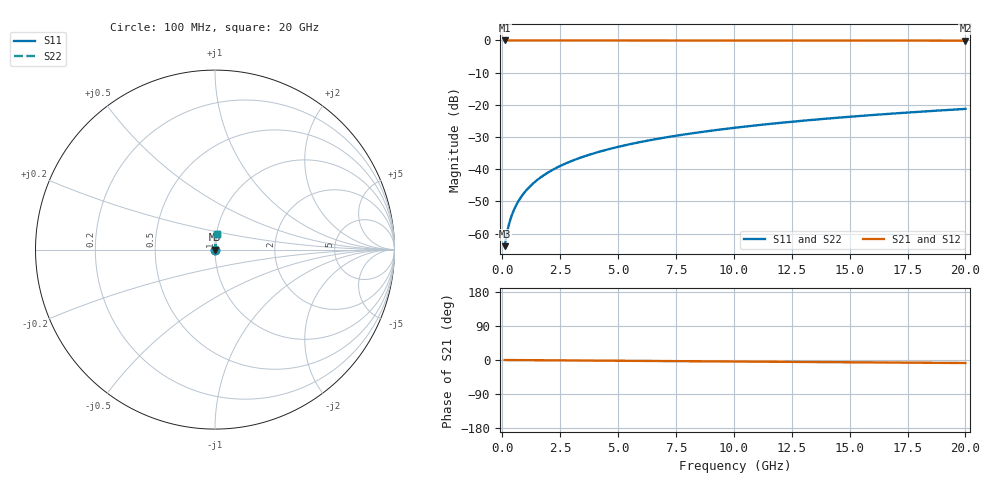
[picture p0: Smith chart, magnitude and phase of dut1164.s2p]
! Touchstone file exported from HFSS 2026.1.0
!  File:  C:/ffzhzh/LocalFiles/Ansys_Project_Files/temp_train_TSV_1164_1783191844_55132.aedt
!  Generated:  03:05:58 AM Jul  5, 2026
!  Design:  TSV
!  Project:  temp_train_TSV_1164_1783191844_55132
! Variables:
!  h_bsmrdl = 2um
!  h_ox = 20um
!  h_rdl = 5um
!  h_sub = 54.6um
!  h_tmrdl = 5um
!  h_tsv = 54.6um
!  h_via = 3um
!  l_bsmrdl = 300um
!  l_sub = 407.86um
!  l_tmrdl = 200um
!  m_sub = 200um
!  pitch = 49.22um
!  r_tsv = 3.93um
!  s_tmrdl = 10um
!  w_bsmrdl = 18um
!  w_sub = 500um
!  w_tmrdl = 12um
!  x_tsv_center1 = 206um
!  x_tsv_center2 = 524um
!  x_tsv_center3 = 736um
!  x_tsv_center4 = 1054um
!  x_tsv_center5 = 1266um
!  x_tsv_center6 = 1584um
# GHz S MA R 50.000000
! Terminal data exported
! Port[1] = TSV1_1_T1
! Port[2] = TSV1_1_T2
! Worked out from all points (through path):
!   200 points, 100 MHz to 20 GHz, reference 50 ohm
!   highest |S21| = 0.00 dB at 100 MHz (marker M1); lowest = 0.0 dB at 20 GHz (marker M2)
!   group delay of S21, straight-line fit = 1.1 ps
!   lowest |S11| = -63.9 dB at 100 MHz (marker M3), VSWR 1.00, Z = 50 + j0.0463 ohm
!   |S11| at or under -10 dB: start of sweep to end of sweep
!   |S22| runs from -63.9 to -21.3 dB; largest |S21 - S12| = 2.2e-15
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0.1  0.000638 46.5  0.9996 -0.0  0.9996 -0.0  0.000638 46.5
! Gamma 0 0 0 0
! Port Impedance 50 0 50 0
0.2  0.001025 64.0  0.9996 -0.1  0.9996 -0.1  0.001025 64.0
0.3  0.00145 71.5  0.9995 -0.1  0.9995 -0.1  0.00145 71.5
0.4  0.001885 75.5  0.9995 -0.2  0.9995 -0.2  0.001885 75.5
0.5  0.002324 78.0  0.9995 -0.2  0.9995 -0.2  0.002324 78.0
0.7  0.003209 81.0  0.9995 -0.3  0.9995 -0.3  0.003209 81.0
0.8  0.003653 81.9  0.9995 -0.3  0.9995 -0.3  0.003653 81.9
1  0.004543 83.2  0.9995 -0.4  0.9995 -0.4  0.004543 83.2
1.2  0.005435 84.1  0.9995 -0.5  0.9995 -0.5  0.005435 84.1
1.4  0.006328 84.7  0.9994 -0.6  0.9994 -0.6  0.006328 84.7
1.7  0.007667 85.2  0.9994 -0.7  0.9994 -0.7  0.007667 85.2
2  0.009005 85.6  0.9994 -0.8  0.9994 -0.8  0.009005 85.6
2.7  0.01212 85.9  0.9993 -1.1  0.9993 -1.1  0.01212 85.9
3.5  0.01566 86.0  0.9992 -1.4  0.9992 -1.4  0.01566 86.0
4.2  0.01874 85.9  0.999 -1.7  0.999 -1.7  0.01874 85.9
5  0.02225 85.7  0.9989 -2.0  0.9989 -2.0  0.02225 85.7
6.8  0.03008 85.2  0.9985 -2.7  0.9985 -2.7  0.03008 85.2
8.3  0.03656 84.8  0.9981 -3.3  0.9981 -3.3  0.03656 84.8
10.1  0.0443 84.2  0.9977 -4.0  0.9977 -4.0  0.0443 84.2
13.4  0.05843 83.1  0.9968 -5.4  0.9968 -5.4  0.05843 83.1
16.7  0.07249 82.0  0.9957 -6.7  0.9957 -6.7  0.07249 82.0
20  0.08644 80.8  0.9944 -8.0  0.9944 -8.0  0.08644 80.8
